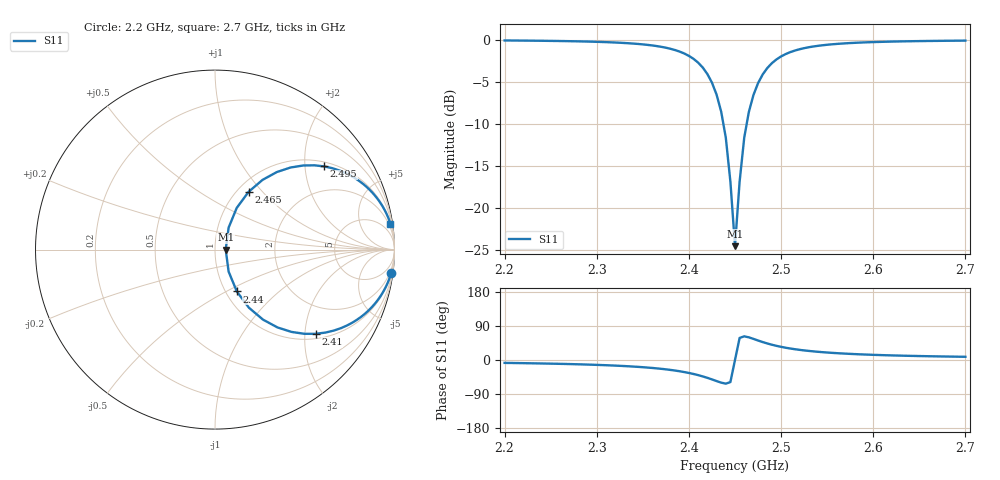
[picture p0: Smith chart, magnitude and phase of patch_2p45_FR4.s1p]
# Hz S RI R 50
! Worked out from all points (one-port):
!   101 points, 2.2 GHz to 2.7 GHz, reference 50 ohm
!   lowest |S11| = -24.5 dB at 2.45 GHz (marker M1), VSWR 1.13, Z = 56.3 + j0 ohm
!   |S11| at or under -10 dB: 2.437 GHz to 2.463 GHz (25.28 MHz wide, 1.03 % of centre)
!   S11 on the Smith chart (normalised r, x): 2.2 GHz: 1, -15; 2.41 GHz: 1.13, -2.27; 2.44 GHz: 1.13, -0.56; 2.465 GHz: 1.13, +0.84; 2.495 GHz: 1.13, +2.51; 2.7 GHz: 1, +13
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2.2e9  0.9812 -0.1317
2.265e9  0.9652 -0.1775
2.325e9  0.9251 -0.2545
2.365e9  0.8496 -0.3446
2.38e9  0.7929 -0.3897
2.39e9  0.7381 -0.4215
2.4e9  0.6631 -0.4509
2.41e9  0.5609 -0.4691
2.42e9  0.4264 -0.4587
2.425e9  0.3484 -0.4338
2.43e9  0.2671 -0.3899
2.435e9  0.1886 -0.3234
2.44e9  0.1216 -0.2332
2.445e9  0.0759 -0.1225
2.45e9  0.0597 0
2.455e9  0.0758 0.1223
2.46e9  0.1211 0.2324
2.465e9  0.1872 0.322
2.47e9  0.2645 0.3881
2.475e9  0.3443 0.432
2.485e9  0.491 0.4686
2.495e9  0.6075 0.4637
2.505e9  0.6943 0.4404
2.515e9  0.7582 0.411
2.54e9  0.855 0.3396
2.575e9  0.9178 0.2656
2.64e9  0.9617 0.1859
2.7e9  0.977 0.1452
